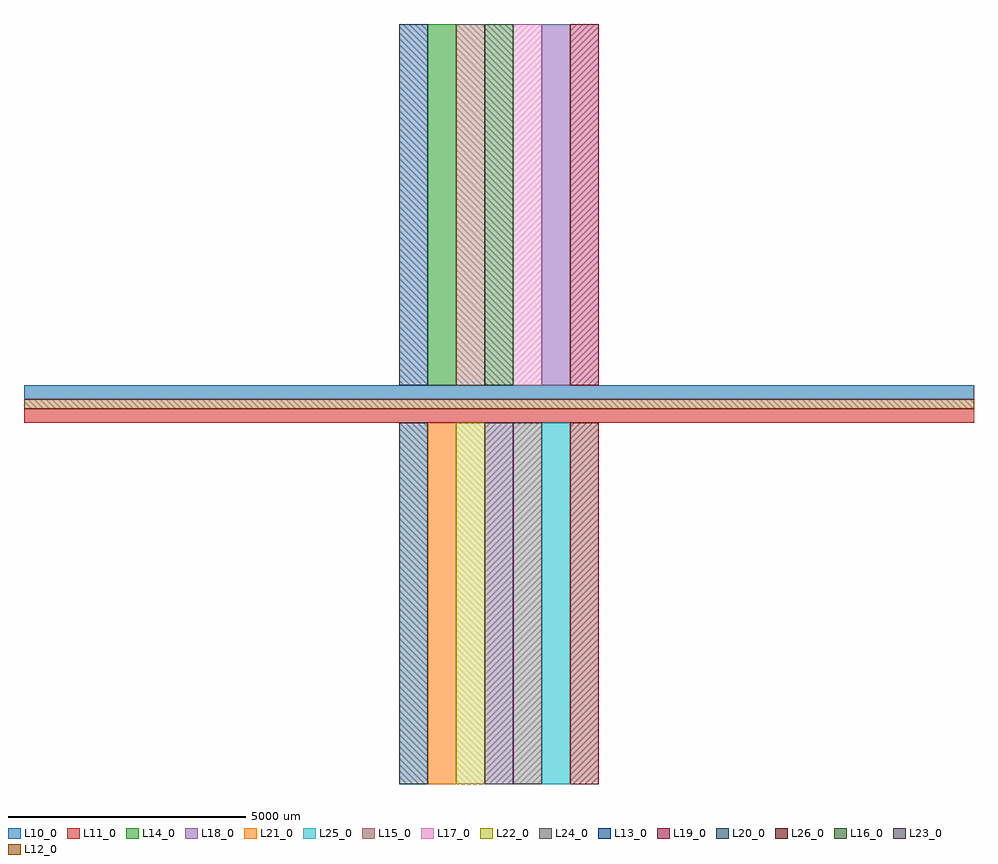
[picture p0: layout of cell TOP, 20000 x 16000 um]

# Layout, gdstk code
import gdstk
lib = gdstk.Library(unit=1e-6, precision=1e-09)
def R(c, l, rs):  # rectangles x0, y0, x1, y1
    for r in rs: c.add(gdstk.rectangle(r[:2], r[2:], *l))
L10_0 = (10, 0)
L11_0 = (11, 0)
L12_0 = (12, 0)
L13_0 = (13, 0)
L14_0 = (14, 0)
L15_0 = (15, 0)
L16_0 = (16, 0)
L17_0 = (17, 0)
L18_0 = (18, 0)
L19_0 = (19, 0)
L20_0 = (20, 0)
L21_0 = (21, 0)
L22_0 = (22, 0)
L23_0 = (23, 0)
L24_0 = (24, 0)
L25_0 = (25, 0)
L26_0 = (26, 0)

top = lib.new_cell('TOP')
R(top, L10_0, [(-10000,99.999,10000,399.999)])
R(top, L11_0, [(-10000,-399.999,10000,-99.999)])
R(top, L12_0, [(-10000,-99.999,10000,99.999)])
R(top, L13_0, [(-2099.999,399.999,-1500,8000)])
R(top, L14_0, [(-1500,399.999,-899.999,8000)])
R(top, L15_0, [(-899.999,399.999,-299.999,8000)])
R(top, L16_0, [(-299.999,399.999,299.999,8000)])
R(top, L17_0, [(299.999,399.999,899.999,8000)])
R(top, L18_0, [(899.999,399.999,1500,8000)])
R(top, L19_0, [(1500,399.999,2099.999,8000)])
R(top, L20_0, [(-2099.999,-8000,-1500,-399.999)])
R(top, L21_0, [(-1500,-8000,-899.999,-399.999)])
R(top, L22_0, [(-899.999,-8000,-299.999,-399.999)])
R(top, L23_0, [(-299.999,-8000,299.999,-399.999)])
R(top, L24_0, [(299.999,-8000,899.999,-399.999)])
R(top, L25_0, [(899.999,-8000,1500,-399.999)])
R(top, L26_0, [(1500,-8000,2099.999,-399.999)])

lib.write_gds('TOP.gds')
